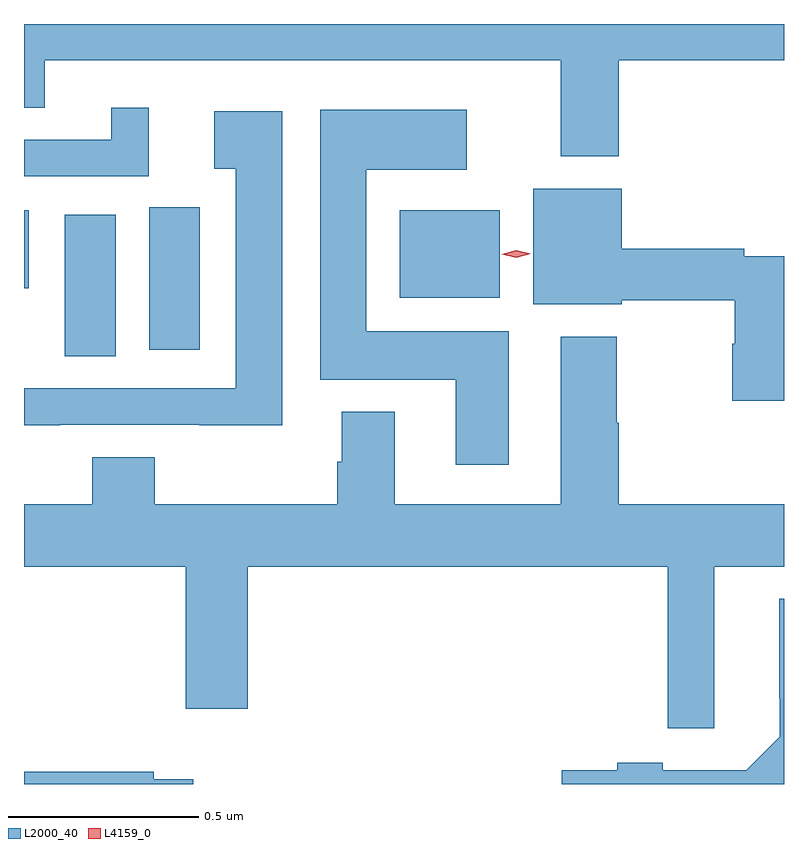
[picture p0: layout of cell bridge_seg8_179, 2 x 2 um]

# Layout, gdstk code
import gdstk
lib = gdstk.Library(unit=1e-6, precision=1e-09)
def R(c, l, rs):  # rectangles x0, y0, x1, y1
    for r in rs: c.add(gdstk.rectangle(r[:2], r[2:], *l))
def P(c, l, *ps):  # polygons
    for p in ps: c.add(gdstk.Polygon(p, *l))
L2000_40 = (2000, 40)
L4159_0 = (4159, 0)

bridge_seg8_179 = lib.new_cell('bridge_seg8_179')
R(bridge_seg8_179, L2000_40, [(488.366,1098.406,488.5,1098.778), (488.588,1098.423,488.722,1098.798), (489.248,1098.56,489.511,1098.79), (488.259,1098.584,488.272,1098.79)])
P(bridge_seg8_179, L2000_40, [(489.824,1099.184),(490.259,1099.184),(490.259,1099.28),(488.259,1099.28),(488.259,1099.06),(488.314,1099.06),(488.314,1099.184),(489.671,1099.184),(489.671,1098.932),(489.824,1098.932)],
  [(488.587,1099.06),(488.489,1099.06),(488.489,1098.975),(488.259,1098.975),(488.259,1098.879),(488.587,1098.879)],
  [(489.535,1098.472),(489.16,1098.472),(489.16,1098.896),(489.424,1098.896),(489.424,1099.054),(489.038,1099.054),(489.038,1098.344),(489.395,1098.344),(489.395,1098.12),(489.535,1098.12)],
  [(488.354,1098.225),(488.72,1098.225),(488.72,1098.224),(488.938,1098.224),(488.938,1099.051),(488.76,1099.051),(488.76,1098.899),(488.816,1098.899),(488.816,1098.321),(488.259,1098.321),(488.259,1098.224),(488.354,1098.224)],
  [(490.259,1098.669),(490.154,1098.669),(490.154,1098.689),(489.832,1098.689),(489.832,1098.847),(489.599,1098.847),(489.599,1098.542),(489.832,1098.542),(489.832,1098.553),(490.13,1098.553),(490.13,1098.438),(490.123,1098.438),(490.123,1098.288),(490.259,1098.288)],
  [(490.075,1097.852),(490.259,1097.852),(490.259,1098.016),(489.824,1098.016),(489.824,1098.231),(489.819,1098.231),(489.819,1098.457),(489.671,1098.457),(489.671,1098.016),(489.235,1098.016),(489.235,1098.259),(489.095,1098.259),(489.095,1098.128),(489.083,1098.128),(489.083,1098.016),(488.603,1098.016),(488.603,1098.14),(488.438,1098.14),(488.438,1098.016),(488.259,1098.016),(488.259,1097.852),(488.684,1097.852),(488.684,1097.478),(488.848,1097.478),(488.848,1097.852),(489.953,1097.852),(489.953,1097.427),(490.075,1097.427)],
  [(490.259,1097.767),(490.247,1097.767),(490.247,1097.506),(490.248,1097.506),(490.248,1097.404),(490.16,1097.316),(489.94,1097.316),(489.94,1097.336),(489.82,1097.336),(489.82,1097.316),(489.674,1097.316),(489.674,1097.28),(490.259,1097.28)],
  [(488.704,1097.292),(488.6,1097.292),(488.6,1097.312),(488.259,1097.312),(488.259,1097.28),(488.704,1097.28)])
P(bridge_seg8_179, L4159_0, [(489.554,1098.665),(489.516,1098.674),(489.516,1098.674),(489.516,1098.674),(489.554,1098.685),(489.593,1098.676),(489.593,1098.675),(489.593,1098.675)])

lib.write_gds('bridge_seg8_179.gds')
